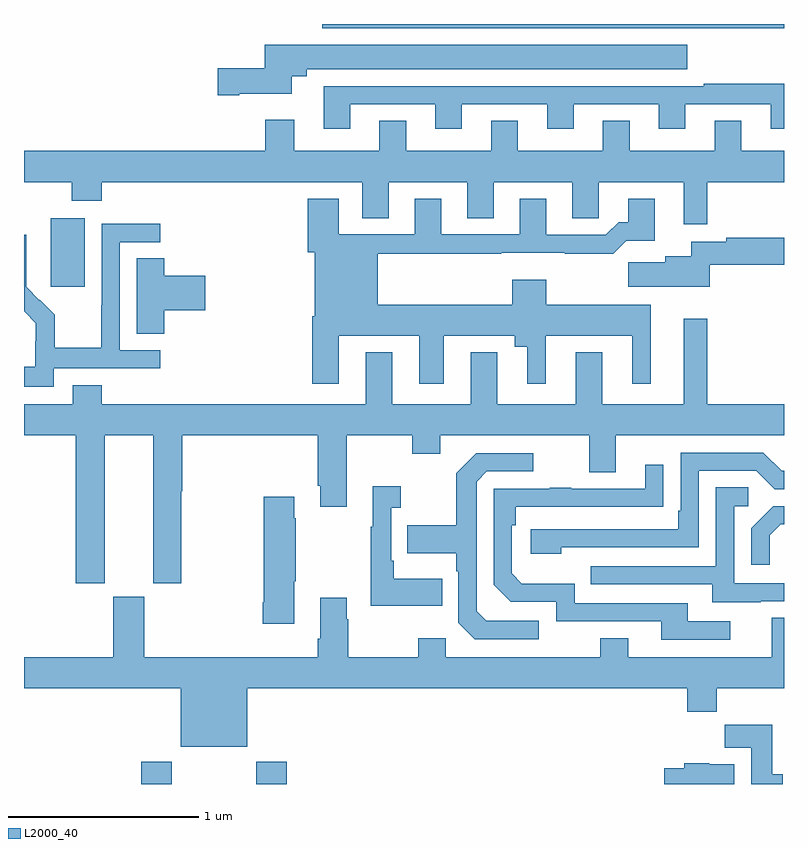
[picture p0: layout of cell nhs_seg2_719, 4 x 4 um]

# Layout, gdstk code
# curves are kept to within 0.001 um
import gdstk
lib = gdstk.Library(unit=1e-6, precision=1e-09)
def R(c, l, rs):  # rectangles x0, y0, x1, y1
    for r in rs: c.add(gdstk.rectangle(r[:2], r[2:], *l))
def P(c, l, *ps):  # polygons
    for p in ps: c.add(gdstk.Polygon(p, *l))
L2000_40 = (2000, 40)

nhs_seg2_719 = lib.new_cell('nhs_seg2_719')
R(nhs_seg2_719, L2000_40, [(147.617,645.8,147.777,645.916), (148.222,645.8,148.382,645.916), (147.14,648.417,147.319,648.778), (148.571,649.778,151,649.8)])
P(nhs_seg2_719, L2000_40, [(148.132,649.433),(148.408,649.433),(148.408,649.526),(148.489,649.526),(148.489,649.562),(150.49,649.562),(150.49,649.69),(148.268,649.69),(148.268,649.568),(148.02,649.568),(148.02,649.426),(148.132,649.426)],
  [(148.717,649.377),(149.165,649.377),(149.165,649.248),(149.305,649.248),(149.305,649.377),(149.753,649.377),(149.753,649.248),(149.893,649.248),(149.893,649.377),(150.341,649.377),(150.341,649.248),(150.481,649.248),(150.481,649.377),(150.929,649.377),(150.929,649.248),(151,649.248),(151,649.486),(150.577,649.486),(150.577,649.473),(148.577,649.473),(148.577,649.248),(148.717,649.248)],
  [(150.595,648.968),(151,648.968),(151,649.132),(150.775,649.132),(150.775,649.292),(150.635,649.292),(150.635,649.132),(150.187,649.132),(150.187,649.292),(150.047,649.292),(150.047,649.132),(149.599,649.132),(149.599,649.292),(149.459,649.292),(149.459,649.132),(149.011,649.132),(149.011,649.292),(148.871,649.292),(148.871,649.132),(148.423,649.132),(148.423,649.297),(148.271,649.297),(148.271,649.132),(147,649.132),(147,648.968),(147.25,648.968),(147.25,648.869),(147.41,648.869),(147.41,648.968),(148.781,648.968),(148.781,648.778),(148.921,648.778),(148.921,648.968),(149.333,648.968),(149.333,648.778),(149.473,648.778),(149.473,648.968),(149.885,648.968),(149.885,648.778),(150.024,648.778),(150.024,648.968),(150.473,648.968),(150.473,648.747),(150.595,648.747)],
  [(148.657,648.158),(149.081,648.158),(149.081,647.907),(149.209,647.907),(149.209,648.158),(149.582,648.158),(149.582,648.101),(149.648,648.101),(149.648,647.907),(149.746,647.907),(149.746,648.158),(150.2,648.158),(150.2,647.907),(150.298,647.907),(150.298,648.322),(149.748,648.322),(149.748,648.454),(149.57,648.454),(149.57,648.322),(148.861,648.322),(148.861,648.592),(149.513,648.592),(149.513,648.596),(149.845,648.596),(149.845,648.59),(150.101,648.59),(150.17,648.659),(150.319,648.659),(150.319,648.88),(150.179,648.88),(150.179,648.757),(150.13,648.757),(150.063,648.69),(149.749,648.69),(149.749,648.88),(149.609,648.88),(149.609,648.693),(149.197,648.693),(149.197,648.88),(149.057,648.88),(149.057,648.693),(148.657,648.693),(148.657,648.88),(148.493,648.88),(148.493,648.6),(148.529,648.6),(148.529,648.262),(148.517,648.262),(148.517,647.907),(148.657,647.907)],
  [(147.156,647.988),(147.718,647.988),(147.718,648.084),(147.504,648.084),(147.504,648.651),(147.718,648.651),(147.718,648.75),(147.408,648.75),(147.408,648.32),(147.406,648.32),(147.406,648.097),(147.161,648.097),(147.161,648.271),(147.084,648.348),(147.081,648.345),(147.011,648.416),(147.012,648.692),(147,648.692),(147,648.288),(147.062,648.226),(147.062,648.129),(147.06,648.129),(147.06,647.995),(147,647.995),(147,647.891),(147.156,647.891)],
  [(150.609,648.533),(151,648.533),(151,648.675),(150.696,648.675),(150.696,648.655),(150.513,648.655),(150.513,648.577),(150.374,648.577),(150.374,648.545),(150.18,648.545),(150.18,648.416),(150.609,648.416)],
  [(147.737,648.293),(147.955,648.293),(147.955,648.476),(147.737,648.476),(147.737,648.566),(147.593,648.566),(147.593,648.169),(147.737,648.169)],
  [(147.424,647.636),(147.68,647.636),(147.68,646.857),(147.828,646.857),(147.828,647.34),(147.833,647.34),(147.833,647.636),(148.547,647.636),(148.547,647.371),(148.559,647.371),(148.559,647.259),(148.699,647.259),(148.699,647.636),(149.044,647.636),(149.044,647.537),(149.191,647.537),(149.191,647.636),(149.975,647.636),(149.975,647.442),(150.115,647.442),(150.115,647.636),(151,647.636),(151,647.8),(150.595,647.8),(150.595,648.25),(150.473,648.25),(150.473,647.8),(150.043,647.8),(150.043,648.073),(149.903,648.073),(149.903,647.8),(149.491,647.8),(149.491,648.073),(149.351,648.073),(149.351,647.8),(148.939,647.8),(148.939,648.073),(148.799,648.073),(148.799,647.8),(147.41,647.8),(147.41,647.899),(147.257,647.899),(147.257,647.8),(147,647.8),(147,647.636),(147.272,647.636),(147.272,646.857),(147.424,646.857)],
  [(149.828,647.046),(150.552,647.046),(150.552,647.448),(150.855,647.448),(150.951,647.352),(151,647.352),(151,647.448),(150.987,647.448),(150.891,647.544),(150.456,647.544),(150.456,647.239),(150.443,647.239),(150.443,647.142),(149.667,647.142),(149.667,647.012),(149.828,647.012)],
  [(149.71,646.659),(149.433,646.659),(149.382,646.71),(149.382,647.391),(149.436,647.445),(149.68,647.445),(149.68,647.541),(149.379,647.541),(149.274,647.435),(149.274,647.163),(149.017,647.163),(149.017,647.015),(149.274,647.015),(149.274,646.919),(149.286,646.919),(149.286,646.65),(149.373,646.563),(149.71,646.563)],
  [(150.718,646.656),(150.493,646.656),(150.493,646.752),(149.898,646.752),(149.898,646.855),(149.621,646.855),(149.568,646.908),(149.568,647.162),(149.588,647.162),(149.588,647.259),(150.365,647.26),(150.365,647.479),(150.269,647.479),(150.269,647.355),(149.879,647.355),(149.879,647.36),(149.767,647.36),(149.767,647.355),(149.472,647.355),(149.472,646.848),(149.562,646.758),(149.802,646.758),(149.802,646.656),(150.353,646.656),(150.353,646.56),(150.718,646.56)],
  [(149.201,646.879),(148.945,646.879),(148.945,646.975),(148.932,646.975),(148.932,647.255),(148.984,647.255),(148.984,647.368),(148.835,647.368),(148.835,647.155),(148.824,647.155),(148.824,646.739),(149.201,646.739)],
  [(150.877,646.761),(151,646.761),(151,646.857),(150.738,646.857),(150.738,647.262),(150.811,647.262),(150.811,647.363),(150.642,647.363),(150.642,646.947),(149.983,646.947),(149.983,646.851),(150.623,646.851),(150.623,646.757),(150.877,646.757)],
  [(148.423,646.867),(148.431,646.867),(148.431,647.198),(148.423,647.198),(148.423,647.311),(148.261,647.311),(148.261,646.756),(148.256,646.756),(148.256,646.644),(148.423,646.644)],
  [(150.925,647.109),(150.982,647.166),(151,647.166),(151,647.262),(150.944,647.262),(150.828,647.146),(150.828,646.953),(150.925,646.953)],
  [(148.174,646.304),(150.491,646.304),(150.491,646.18),(150.647,646.18),(150.647,646.304),(151,646.304),(151,646.676),(150.935,646.676),(150.935,646.468),(150.181,646.468),(150.181,646.567),(150.034,646.567),(150.034,646.468),(149.22,646.468),(149.22,646.567),(149.074,646.567),(149.074,646.468),(148.707,646.468),(148.707,646.667),(148.699,646.667),(148.699,646.78),(148.559,646.78),(148.559,646.564),(148.547,646.564),(148.547,646.468),(147.634,646.468),(147.634,646.785),(147.47,646.785),(147.47,646.468),(147,646.468),(147,646.304),(147.824,646.304),(147.824,645.995),(148.174,645.995)],
  [(150.994,645.852),(150.937,645.852),(150.937,646.111),(150.688,646.111),(150.688,645.992),(150.827,645.992),(150.827,645.8),(150.994,645.8)],
  [(150.739,645.904),(150.606,645.904),(150.606,645.91),(150.476,645.91),(150.476,645.882),(150.369,645.882),(150.369,645.8),(150.739,645.8)])

lib.write_gds('nhs_seg2_719.gds')
